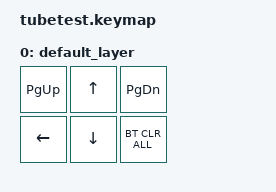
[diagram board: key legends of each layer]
#include <behaviors.dtsi>
#include <dt-bindings/zmk/keys.h>
#include <dt-bindings/zmk/bt.h>
/ {
    keymap {
        compatible = "zmk,keymap";

        default_layer {
            bindings = <
                &kp PG_UP   &kp UP    &kp PG_DN
                &kp LEFT    &kp DOWN  &bt BT_CLR_ALL
            >;
        };
    };

    combos {
        compatible = "zmk,combos";

        //pairing_combo {
         // timeout-ms = <50>;
          // key-positions = <0 1>;  // tecla 1 + tecla 2
       //   bindings = <&bt BT_CLR_ALL>;
};


        bootloader_combo {
            timeout-ms = <50>;
            key-positions = <0 2>;  // Tecla 1 + Tecla 3
            bindings = <&bootloader>;
        };
    };
};
